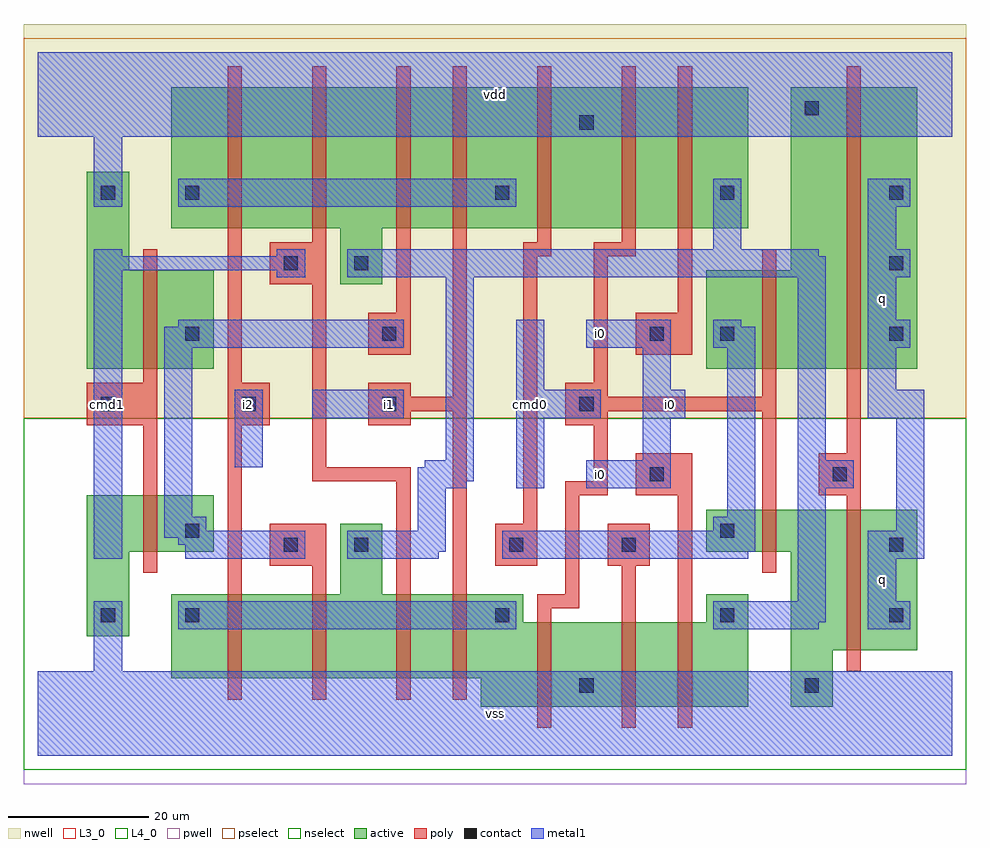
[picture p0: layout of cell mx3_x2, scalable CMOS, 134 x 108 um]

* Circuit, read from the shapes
.subckt mx3_x2 cmd0 cmd1 i0 i1 i2 q vdd vss
M1 n1 cmd1 vss VSUBS nfet w=8u l=2u
M2 n2 i2 n3 VSUBS nfet w=12u l=2u
M3 n4 n1 n2 VSUBS nfet w=12u l=2u
M4 n5 cmd1 n4 VSUBS nfet w=12u l=2u
M5 n3 i1 n5 VSUBS nfet w=12u l=2u
M6 vss cmd0 n3 VSUBS nfet w=12u l=2u
M7 n6 n7 vss VSUBS nfet w=12u l=2u
M8 n4 i0 n6 VSUBS nfet w=12u l=2u
M9 vss cmd0 n7 VSUBS nfet w=6u l=2u
M10 q n4 vss VSUBS nfet w=20u l=2u
M11 n1 cmd1 vdd n8 pfet w=14u l=2u
M12 n9 i2 n10 n8 pfet w=20u l=2u
M13 n4 cmd1 n9 n8 pfet w=20u l=2u
M14 n11 n1 n4 n8 pfet w=20u l=2u
M15 n10 i1 n11 n8 pfet w=20u l=2u
M16 vdd n7 n10 n8 pfet w=20u l=2u
M17 n12 cmd0 vdd n8 pfet w=20u l=2u
M18 n4 i0 n12 n8 pfet w=20u l=2u
M19 vdd cmd0 n7 n8 pfet w=14u l=2u
M20 q n4 vdd n8 pfet w=40u l=2u
.ends

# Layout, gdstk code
import gdstk
lib = gdstk.Library(unit=1e-6, precision=1e-09)
def R(c, l, rs):  # rectangles x0, y0, x1, y1
    for r in rs: c.add(gdstk.rectangle(r[:2], r[2:], *l))
def A(c, l, x, y, w, h, nx, ny, dx, dy):  # array of equal rectangles
    R(c, l, [(x+i*dx, y+j*dy, x+i*dx+w, y+j*dy+h) for i in range(nx) for j in range(ny)])
L3_0 = (3, 0)
L4_0 = (4, 0)
contact = (25, 0)
pwell = (41, 0)
nwell = (42, 0)
active = (43, 0)
pselect = (44, 0)
nselect = (45, 0)
poly = (46, 0)
metal1 = (49, 0)

mx3_x2 = lib.new_cell('mx3_x2')
R(mx3_x2, L3_0, [(63,7,101,11), (107,7,113,15), (19,11,101,19), (107,15,125,29), (7,17,13,29), (19,19,69,23), (95,19,101,23), (43,23,49,33), (7,29,25,37), (95,29,125,35)])
R(mx3_x2, L4_0, [(7,55,25,69), (95,55,125,69), (43,67,49,75), (7,69,13,83), (107,69,125,95), (19,75,101,95)])
A(mx3_x2, contact, 77, 9, 2, 2, 1, 3, 0, 40)
A(mx3_x2, contact, 9, 49, 2, 2, 3, 1, 20, 0)
A(mx3_x2, contact, 121, 59, 2, 2, 1, 3, 0, 10)
R(mx3_x2, contact, [(109,9,111,11), (9,19,11,21), (21,19,23,21), (65,19,67,21), (97,19,99,21), (121,19,123,21), (35,29,37,31), (45,29,47,31), (67,29,69,31), (83,29,85,31), (121,29,123,31), (21,31,23,33), (97,31,99,33), (87,39,89,41), (113,39,115,41), (21,59,23,61), (49,59,51,61), (87,59,89,61), (97,59,99,61), (35,69,37,71), (45,69,47,71), (9,79,11,81), (21,79,23,81), (65,79,67,81), (97,79,99,81), (109,91,111,93)])
R(mx3_x2, pwell, [(-2,-4,132,48)])
R(mx3_x2, nwell, [(-2,48,132,104)])
R(mx3_x2, active, [(63,7,101,11), (107,7,113,15), (19,11,101,19), (107,15,125,29), (7,17,13,29), (19,19,69,23), (95,19,101,23), (43,23,49,33), (7,29,25,37), (95,29,125,35), (7,55,25,69), (95,55,125,69), (43,67,49,75), (7,69,13,83), (107,69,125,95), (19,75,101,95)])
R(mx3_x2, pselect, [(-2,48,132,102)])
R(mx3_x2, nselect, [(-2,-2,132,48)])
R(mx3_x2, poly, [(71,4,73,21), (83,4,85,27), (91,4,93,37), (27,8,29,47), (39,8,41,27), (51,8,53,39), (59,8,61,49), (115,12,117,37), (71,21,77,23), (75,23,77,37), (15,26,17,47), (103,26,105,49), (33,27,41,33), (65,27,71,33), (81,27,87,33), (69,33,71,71), (75,37,81,39), (85,37,93,43), (111,37,117,43), (39,39,53,41), (79,39,81,47), (39,41,41,67), (115,43,117,98), (7,47,17,53), (27,47,33,53), (47,47,53,49), (75,47,81,49), (47,49,61,51), (75,49,105,51), (47,51,53,53), (59,51,61,98), (75,51,81,53), (103,51,105,72), (15,53,17,72), (27,53,29,98), (79,53,81,71), (47,57,53,63), (85,57,93,63), (51,63,53,98), (91,63,93,98), (33,67,41,73), (69,71,73,73), (79,71,85,73), (39,73,41,98), (71,73,73,98), (83,73,85,98)])
A(mx3_x2, metal1, 118, 52, 4, 6, 1, 3, 0, 10)
A(mx3_x2, metal1, 118, 58, 6, 4, 1, 3, 0, 10)
R(mx3_x2, metal1, [(0,0,130,12), (8,12,12,22), (20,18,68,22), (96,18,111,19), (118,18,124,22), (96,19,112,22), (108,22,112,38), (118,22,122,28), (8,28,12,69), (21,28,38,30), (44,28,57,29), (66,28,101,29), (118,28,126,32), (44,29,58,32), (66,29,102,32), (20,30,38,31), (18,31,38,32), (18,32,24,34), (54,32,58,38), (96,32,102,34), (122,32,126,48), (18,34,22,58), (98,34,102,58), (54,38,61,39), (68,38,72,48), (78,38,90,42), (108,38,116,42), (54,39,62,41), (28,41,32,52), (55,41,62,42), (58,42,62,68), (86,42,90,48), (108,42,112,68), (39,48,52,52), (68,48,80,52), (86,48,92,52), (118,48,126,52), (68,52,72,62), (86,52,90,58), (18,58,52,61), (78,58,90,62), (96,58,102,61), (20,61,52,62), (96,61,100,62), (34,68,38,69), (44,68,112,71), (8,69,38,71), (8,71,12,72), (34,71,38,72), (44,71,111,72), (96,72,100,82), (8,78,12,88), (20,78,68,82), (0,88,130,100)])
mx3_x2.add(gdstk.Label('cmd1', (10,50), layer=49, texttype=0))
mx3_x2.add(gdstk.Label('i2', (30,50), layer=49, texttype=0))
mx3_x2.add(gdstk.Label('vss', (65,6), layer=49, texttype=0))
mx3_x2.add(gdstk.Label('i1', (50,50), layer=49, texttype=0))
mx3_x2.add(gdstk.Label('cmd0', (70,50), layer=49, texttype=0))
mx3_x2.add(gdstk.Label('vdd', (65,94), layer=49, texttype=0))
mx3_x2.add(gdstk.Label('i0', (80,40), layer=49, texttype=0))
mx3_x2.add(gdstk.Label('i0', (90,50), layer=49, texttype=0))
mx3_x2.add(gdstk.Label('i0', (80,60), layer=49, texttype=0))
mx3_x2.add(gdstk.Label('q', (120,25), layer=49, texttype=0))
mx3_x2.add(gdstk.Label('q', (120,65), layer=49, texttype=0))

lib.write_gds('mx3_x2.gds')
